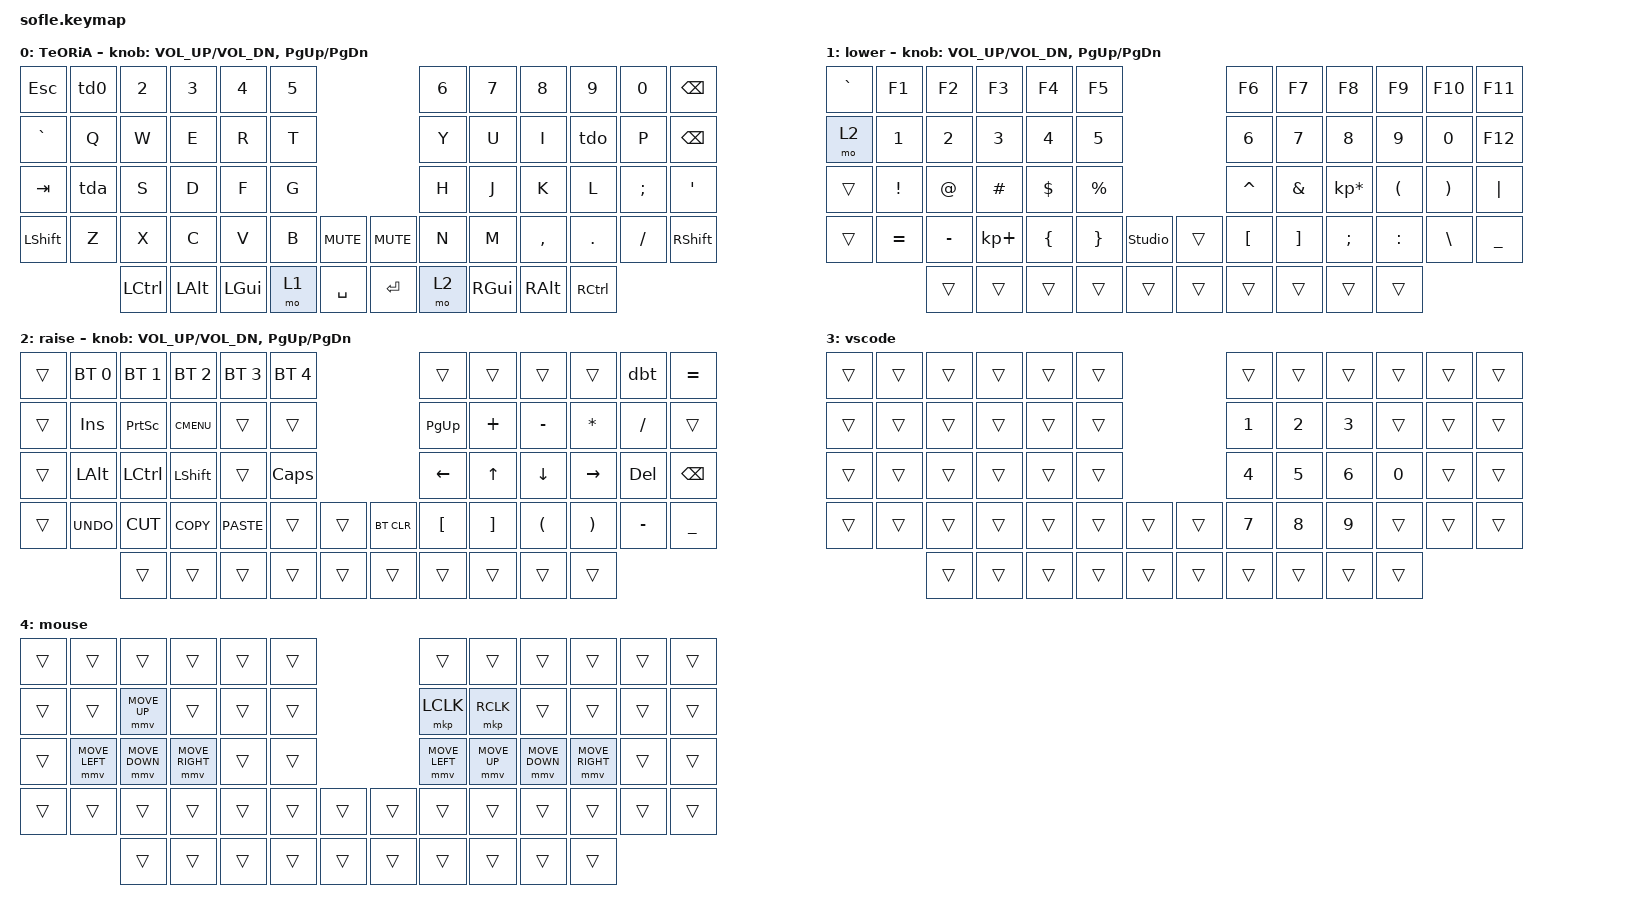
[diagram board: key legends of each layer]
/*
 * Copyright (c) 2020 The ZMK Contributors
 *
 * SPDX-License-Identifier: MIT
 */

#include <behaviors.dtsi>
#include <dt-bindings/zmk/bt.h>
#include <dt-bindings/zmk/keys.h>
#include <dt-bindings/zmk/pointing.h>

#define ZMK_POINTING_DEFAULT_MOVE_VAL 1500  // default: 600
#define ZMK_POINTING_DEFAULT_SCRL_VAL 20  

/ {
    macros {
        dbt: new_macro {
            compatible = "zmk,behavior-macro";
            #binding-cells = <0>;
            bindings = <&kp D &kp B &kp T &kp SPACE &kp R &kp U &kp N &kp SPACE &kp MINUS &kp S &kp SPACE>;
            label = "NEW_MACRO";
        };

        a_tilde: a_tilde {
            compatible = "zmk,behavior-macro";
            #binding-cells = <0>;
            bindings = <&kp TILDE &kp A>;
            label = "A_TILDE";
        };

        a_circunflex: a_circunflex {
            compatible = "zmk,behavior-macro";
            #binding-cells = <0>;
            bindings = <&kp CARET &kp A>;
            label = "A_CIRCUNFLEX";
        };

        o_circunflex: o_circunflex {
            compatible = "zmk,behavior-macro";
            #binding-cells = <0>;
            bindings = <&kp CARET &kp O>;
            label = "O_CIRCUNFLEX";
        };

        o_tilde: o_tilde {
            compatible = "zmk,behavior-macro";
            #binding-cells = <0>;
            bindings = <&kp TILDE &kp O>;
            label = "O_TILDE";
        };
    };

    combos {
        compatible = "zmk,combos";

        mouse {
            bindings = <&mo 4>;
            key-positions = <53 52>;
        };

        enter_duplo {
            bindings = <&kp RET>;
            key-positions = <34 35>;
        };

        vscode {
            bindings = <&mo 3>;
            key-positions = <56 55>;
        };

        mouse2 {
            bindings = <&mo 4>;
            key-positions = <53 54>;
        };
    };

    behaviors {
        td0: tap_dance_0 {
            compatible = "zmk,behavior-tap-dance";
            #binding-cells = <0>;
            tapping-term-ms = <300>;
            bindings = <&kp N1>, <&kp N2>, <&kp N3>;
        };

        tda: tap_dance_a {
            compatible = "zmk,behavior-tap-dance";
            #binding-cells = <0>;
            tapping-term-ms = <300>;
            bindings = <&kp A>, <&a_tilde>, <&a_circunflex>;

            label = "TDA";
        };

        tdo: tap_dance_o {
            compatible = "zmk,behavior-tap-dance";
            #binding-cells = <0>;
            tapping-term-ms = <300>;
            bindings = <&kp O>, <&o_tilde>, <&o_circunflex>;

            label = "tdo";
        };
    };

    keymap {
        compatible = "zmk,keymap";

        default_layer {
            display-name = "TeORiA";

            // ------------------------------------------------------------------------------------------------------------
            // |  `    |  1  |  2  |  3   |  4   |  5   |                   |  6   |  7    |  8    |  9   |   0   |       |
            // |  ESC  |  Q  |  W  |  E   |  R   |  T   |                   |  Y   |  U    |  I    |  O   |   P   | BKSPC |
            // |  TAB  |  A  |  S  |  D   |  F   |  G   |                   |  H   |  J    |  K    |  L   |   ;   |   '   |
            // | SHIFT |  Z  |  X  |  C   |  V   |  B   |  MUTE  |  |       |  N   |  M    |  ,    |  .   |   /   | SHIFT |
            //               | GUI | ALT  | CTRL | LOWER|  ENTER |  | SPACE | RAISE| CTRL  | ALT   | GUI  |

            bindings = <
&kp ESC    &td0   &kp N2            &kp N3    &kp N4        &kp N5                            &kp N6  &kp N7         &kp N8     &kp N9     &kp N0    &kp BACKSPACE
&kp GRAVE  &kp Q  &kp W             &kp E     &kp R         &kp T                             &kp Y   &kp U          &kp I      &tdo       &kp P     &kp BSPC
&kp TAB    &tda   &kp S             &kp D     &kp F         &kp G                             &kp H   &kp J          &kp K      &kp L      &kp SEMI  &kp SQT
&kp LSHFT  &kp Z  &kp X             &kp C     &kp V         &kp B   &kp C_MUTE    &kp C_MUTE  &kp N   &kp M          &kp COMMA  &kp DOT    &kp FSLH  &kp RSHFT
                  &kp LEFT_CONTROL  &kp LALT  &kp LEFT_GUI  &mo 1   &kp SPACE     &kp RET     &mo 2   &kp RIGHT_GUI  &kp RALT   &kp RCTRL
            >;

            sensor-bindings = <&inc_dec_kp C_VOL_UP C_VOL_DN &inc_dec_kp PG_UP PG_DN>;
        };

        lower_layer {
            display-name = "lower";

            // TODO: Some binds are waiting for shifted keycode support.
            // ------------------------------------------------------------------------------------------------------------
            // | `     |  F1 |  F2 |  F3  |  F4  |  F5  |                   |  F6  |  F7   |  F8   |  F9  |  F10  |  F11  |
            // | RAISE |   1 |   2 |   3  |   4  |   5  |                   |   6  |   7   |   8   |   9  |    0  |  F12  |
            // |       |  !  |  @  |  #   |  $   |  %   |                   |  ^   |  &    |  *    |  (   |   )   |   |   |
            // |       |  =  |  -  |  +   |  {   |  }   |        |  |       |  [   |  ]    |  ;    |  :   |   \   |       |
            //               |     |      |      |      |        |  |       |      |       |       |      |

            bindings = <
&kp GRAVE  &kp F1     &kp F2     &kp F3       &kp F4    &kp F5                               &kp F6     &kp F7    &kp F8           &kp F9     &kp F10   &kp F11
&mo 2      &kp N1     &kp N2     &kp N3       &kp N4    &kp N5                               &kp N6     &kp N7    &kp N8           &kp N9     &kp N0    &kp F12
&trans     &kp EXCL   &kp AT     &kp HASH     &kp DLLR  &kp PRCNT                            &kp CARET  &kp AMPS  &kp KP_MULTIPLY  &kp LPAR   &kp RPAR  &kp PIPE
&trans     &kp EQUAL  &kp MINUS  &kp KP_PLUS  &kp LBRC  &kp RBRC   &studio_unlock    &trans  &kp LBKT   &kp RBKT  &kp SEMI         &kp COLON  &kp BSLH  &kp UNDERSCORE
                      &trans     &trans       &trans    &trans     &trans            &trans  &trans     &trans    &trans           &trans
            >;

            sensor-bindings = <&inc_dec_kp C_VOL_UP C_VOL_DN &inc_dec_kp PG_UP PG_DN>;
        };

        raise_layer {
            display-name = "raise";

            // ------------------------------------------------------------------------------------------------------------
            // |BTCLR| BT1  | BT2  |  BT3  |  BT4  |  BT5 |                |      |      |       |      |       |       |
            // |     | INS  | PSCR | GUI   |       |      |                | PGUP |      |       |      |       |       |
            // |     | ALT  | CTRL | SHIFT |       | CAPS |                |  <-  |   v  |   ^   |  ->  |  DEL  | BKSPC |
            // |     | UNDO | CUT  | COPY  | PASTE |      |      |  |      |      |      |       |      |       |       |
            //              |      |       |       |      |      |  |      |      |      |       |      |

            bindings = <
&trans  &bt BT_SEL 0  &bt BT_SEL 1  &bt BT_SEL 2  &bt BT_SEL 3  &bt BT_SEL 4                    &trans            &trans             &trans                &trans                 &dbt       &kp EQUAL
&trans  &kp INS       &kp PSCRN     &kp K_CMENU   &trans        &trans                          &kp PG_UP         &kp PLUS           &kp MINUS             &kp ASTERISK           &kp SLASH  &trans
&trans  &kp LALT      &kp LCTRL     &kp LSHFT     &trans        &kp CLCK                        &kp LEFT          &kp UP             &kp DOWN              &kp RIGHT              &kp DEL    &kp BSPC
&trans  &kp K_UNDO    &kp K_CUT     &kp K_COPY    &kp K_PASTE   &trans        &trans    &bt BT_CLR  &kp LEFT_BRACKET  &kp RIGHT_BRACKET  &kp LEFT_PARENTHESIS  &kp RIGHT_PARENTHESIS  &kp MINUS  &kp UNDERSCORE
                      &trans        &trans        &trans        &trans        &trans    &trans  &trans            &trans             &trans                &trans
            >;

            sensor-bindings = <&inc_dec_kp C_VOL_UP C_VOL_DN &inc_dec_kp PG_UP PG_DN>;
        };

        vccode {
            display-name = "vscode";
            bindings = <
&trans  &trans  &trans  &trans  &trans  &trans                    &trans        &trans        &trans        &trans  &trans  &trans
&trans  &trans  &trans  &trans  &trans  &trans                    &kp NUMBER_1  &kp NUMBER_2  &kp NUMBER_3  &trans  &trans  &trans
&trans  &trans  &trans  &trans  &trans  &trans                    &kp NUMBER_4  &kp N5        &kp NUMBER_6  &kp N0  &trans  &trans
&trans  &trans  &trans  &trans  &trans  &trans  &trans    &trans  &kp N7        &kp N8        &kp N9        &trans  &trans  &trans
                &trans  &trans  &trans  &trans  &trans    &trans  &trans        &trans        &trans        &trans
            >;
        };

        mouse {
            bindings = <
&trans  &trans          &trans          &trans           &trans  &trans                    &trans          &trans        &trans          &trans           &trans  &trans
&trans  &trans          &mmv MOVE_UP    &trans           &trans  &trans                    &mkp LCLK       &mkp RCLK     &trans          &trans           &trans  &trans
&trans  &mmv MOVE_LEFT  &mmv MOVE_DOWN  &mmv MOVE_RIGHT  &trans  &trans                    &mmv MOVE_LEFT  &mmv MOVE_UP  &mmv MOVE_DOWN  &mmv MOVE_RIGHT  &trans  &trans
&trans  &trans          &trans          &trans           &trans  &trans  &trans    &trans  &trans          &trans        &trans          &trans           &trans  &trans
                        &trans          &trans           &trans  &trans  &trans    &trans  &trans          &trans        &trans          &trans
            >;

            label = "mouse";
        };
    };

    conditional_layers { compatible = "zmk,conditional-layers"; };
};
